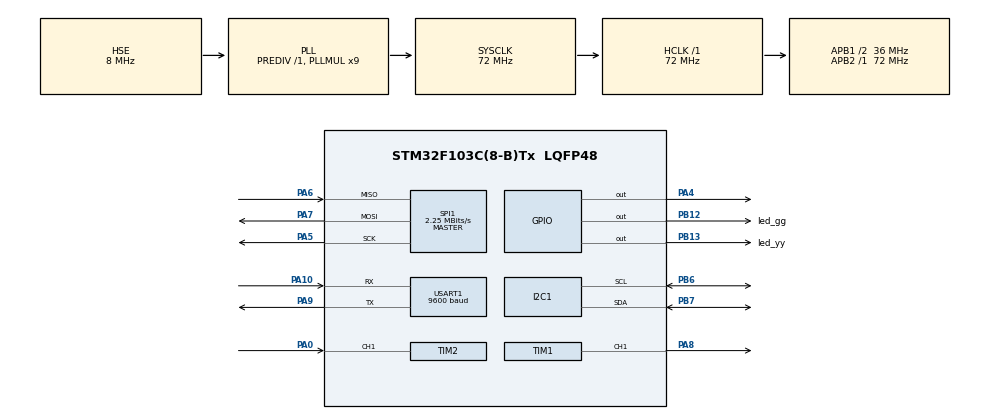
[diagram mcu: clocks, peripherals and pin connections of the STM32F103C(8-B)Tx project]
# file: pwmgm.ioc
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Mcu.Family=STM32F1
RCC.PLLSourceVirtual=RCC_PLLSOURCE_HSE
PA6.Mode=Full_Duplex_Master
PA7.Mode=Full_Duplex_Master
PD1-OSC_OUT.Mode=HSE-External-Oscillator
PA10.Mode=Asynchronous
SPI1.VirtualType=VM_MASTER
USART1.BaudRate=9600
PD0-OSC_IN.Signal=RCC_OSC_IN
RCC.APB1CLKDivider=RCC_HCLK_DIV2
PB13.GPIO_Label=led_yy
PB13.Signal=GPIO_Output
RCC.SYSCLKSource=RCC_SYSCLKSOURCE_PLLCLK
ProjectManager.StackSize=0x400
PA0-WKUP.Signal=S_TIM2_CH1_ETR
PD1-OSC_OUT.Signal=RCC_OSC_OUT
PA13.Signal=SYS_JTMS-SWDIO
TIM1.AutoReloadPreload=TIM_AUTORELOAD_PRELOAD_ENABLE
PA9.Mode=Asynchronous
VP_SYS_VS_tim3.Mode=TIM3
SH.S_TIM1_CH1.0=TIM1_CH1,PWM Generation1 CH1
ProjectManager.TargetToolchain=STM32CubeIDE
SPI1.Direction=SPI_DIRECTION_2LINES
RCC.HCLKFreq_Value=72000000
RCC.APB2TimFreq_Value=72000000
PA9.Signal=USART1_TX
PB6.Signal=I2C1_SCL
PB6.Mode=I2C
SPI1.CalculateBaudRate=2.25 MBits/s
RCC.USBFreq_Value=72000000
RCC.AHBFreq_Value=72000000
VP_FATFS_VS_Generic.Mode=User_defined
PD0-OSC_IN.Mode=HSE-External-Oscillator
PA5.Signal=SPI1_SCK
board=custom
RCC.PLLMUL=RCC_PLL_MUL9
NVIC.TIM3_IRQn=true\:0\:0\:false\:false\:true\:false\:true
PB12.GPIO_Label=led_gg
RCC.APB2Freq_Value=72000000
TIM1.Channel-PWM\ Generation1\ CH1=TIM_CHANNEL_1
SPI1.Mode=SPI_MODE_MASTER
PA14.Mode=Serial_Wire
NVIC.TIM2_IRQn=true\:5\:0\:true\:false\:true\:true\:true
PB7.Signal=I2C1_SDA
PA8.Signal=S_TIM1_CH1
PA13.Mode=Serial_Wire
Mcu.Name=STM32F103C(8-B)Tx
VP_TIM1_VS_ClockSourceINT.Mode=Internal
FATFS._MAX_SS=512
PA4.Signal=GPIO_Output
RCC.SYSCLKFreq_VALUE=72000000
Mcu.Package=LQFP48
PA6.Signal=SPI1_MISO
NVIC.TimeBase=TIM3_IRQn
USART1.VirtualMode=VM_ASYNC
PB7.Mode=I2C
SH.S_TIM2_CH1_ETR.0=TIM2_CH1,PWM_Input_1
NVIC.TimeBaseIP=TIM3
PA14.Signal=SYS_JTCK-SWCLK
PA10.Signal=USART1_RX
ProjectManager.HeapSize=0x200
NVIC.PriorityGroup=NVIC_PRIORITYGROUP_4
RCC.APB1TimFreq_Value=72000000
NVIC.USART1_IRQn=true\:5\:0\:true\:false\:true\:true\:true
RCC.APB1Freq_Value=36000000
SPI1.BaudRatePrescaler=SPI_BAUDRATEPRESCALER_32
PB12.Signal=GPIO_Output
PA5.Mode=Full_Duplex_Master
PA7.Signal=SPI1_MOSI

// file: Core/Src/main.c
/* USER CODE BEGIN Header */
/**
 ******************************************************************************
 * @file           : main.c
 * @brief          : Main program body
 ******************************************************************************
 * @attention
 *
 * <h2><center>&copy; Copyright (c) 2023 STMicroelectronics.
 * All rights reserved.</center></h2>
 *
 * This software component is licensed by ST under BSD 3-Clause license,
 * the "License"; You may not use this file except in compliance with the
 * License. You may obtain a copy of the License at:
 *                        opensource.org/licenses/BSD-3-Clause
 *
 ******************************************************************************
 */
/* USER CODE END Header */
#include "main.h"
#include "fatfs.h"

/* USER CODE BEGIN Includes */

#include "string.h"
#include "stdio.h"
#include "stdlib.h"
#include "liquidcrystal_i2c.h"
#include "freertos.h"
#include "queue.h"
#include "semphr.h"
#include "stm32f1xx_hal_tim_ex.h"

/* USER CODE END Includes */

/* USER CODE BEGIN PD */

#define TIMER_CLOCK_FREQ 72000000
/* USER CODE END PD */

I2C_HandleTypeDef hi2c1;

SPI_HandleTypeDef hspi1;

TIM_HandleTypeDef htim1;
TIM_HandleTypeDef htim2;

UART_HandleTypeDef huart1;

/* USER CODE BEGIN PV */

SemaphoreHandle_t sem_UART1;
SemaphoreHandle_t Mutex;
SemaphoreHandle_t sem_Dmfd;

// Handler de la cola
QueueHandle_t queueUART1;
QueueHandle_t queuePWM;
QueueHandle_t queueLCD;
QueueHandle_t queueMFD;
QueueHandle_t queueDmfd;
QueueHandle_t queueSD;
QueueHandle_t queueDSD;
// datos de la colas

typedef struct {
	uint8_t code;
	uint8_t lfrequency[5];
	uint8_t ldutyCycle[5];
	uint8_t fecha[23];
} queueLCD_t;

typedef struct {
	float frequency;
	float dutyCycle;
} queueMFD_t;

uint8_t dataUART[23];
uint8_t dataPWM[8];
char cadena;
uint8_t queueS_1;
char cadenaSD_F[125];

// Handlers de tareas
TaskHandle_t h_UART1;
TaskHandle_t h_pwm;
TaskHandle_t h_mfd;
TaskHandle_t h_lcd;
TaskHandle_t h_Dmfd;
TaskHandle_t h_SD;
TaskHandle_t h_dsd;

/* USER CODE END PV */

void SystemClock_Config(void);
static void MX_GPIO_Init(void);
static void MX_I2C1_Init(void);
static void MX_USART1_UART_Init(void);
static void MX_TIM1_Init(void);
static void MX_SPI1_Init(void);
static void MX_TIM2_Init(void);

/* USER CODE BEGIN 0 */
FATFS fs;  // file system
FIL fil; // File
FILINFO fno;
FRESULT fresult;  // result
UINT br, bw;  // File read/write count

/**** capacity related *****/
FATFS *pfs;
DWORD fre_clust;
uint32_t total, free_space;
////////////////////////////////////////////////////////////////////////////////
//// interrupcion TIMER 2 medicion de freq & duty
void HAL_TIM_IC_CaptureCallback(TIM_HandleTypeDef *htim) {

	float freq = 0;
	float duty = 0;
	queueMFD_t buffer = { 0 };

	if (htim->Instance == TIM2) {

		uint32_t cl = HAL_TIM_ReadCapturedValue(htim, TIM_CHANNEL_1);
		uint32_t ch = HAL_TIM_ReadCapturedValue(htim, TIM_CHANNEL_2);

		freq = (float) TIMER_CLOCK_FREQ / (cl + 1);
		duty = (float) 100 * ch / cl;

		buffer.frequency = freq;

		buffer.dutyCycle = duty;

		xQueueSendToBackFromISR(queueMFD, &buffer, portMAX_DELAY);

		HAL_TIM_IC_Stop_IT(&htim2, TIM_CHANNEL_1); // Primary channel - rising edge
		HAL_TIM_IC_Stop(&htim2, TIM_CHANNEL_2);

	}
}

////////////////////////////////////////////////////////////////////////////////
//// interrupcion de uart
void HAL_UART_RxCpltCallback(UART_HandleTypeDef *huart) {
	int indice;
	char buffer[23];
	HAL_GPIO_TogglePin(GPIOB, GPIO_PIN_12);
	if (huart->Instance == USART1) {

		buffer[indice++] = cadena;

		if (cadena == '&')
			indice = 0;

		if (indice >= 23)

		{

			indice = 0;
			xQueueSendToBackFromISR(queueUART1, &buffer, portMAX_DELAY);

			static BaseType_t xHigherPriorityTaskWoken = pdFALSE;
			xSemaphoreGiveFromISR(sem_UART1, &xHigherPriorityTaskWoken);
			if (xHigherPriorityTaskWoken) {
				taskYIELD();
			}
		}
	}
	HAL_UART_Receive_IT(&huart1, (uint8_t*) &cadena, 1);

}

////////////////////////////////////////////////////////////////////////////////////
/// tarea presentacion

static void LCDTask(void *parameters) {

	queueLCD_t buffer_lcd = { 0 };
	char fecha[14];
	char frequency[5];
	char dutyCycle[2];

	while (1) {

		xQueueReceive(queueLCD, &buffer_lcd, portMAX_DELAY);

		if (buffer_lcd.code == 2) {

			HD44780_SetCursor(8, 0);
			HD44780_PrintStr((char*) buffer_lcd.lfrequency);
			HD44780_SetCursor(13, 0);
			HD44780_PrintStr(" Hz ");
			HD44780_SetCursor(8, 1);
			HD44780_PrintStr((char*) buffer_lcd.ldutyCycle);
			HD44780_SetCursor(13, 1);
			HD44780_PrintStr(" % ");

		}

		if (buffer_lcd.code == 1) {

			strncpy(fecha, (char*) buffer_lcd.fecha + 9, 23);
			HD44780_Clear();
			HD44780_SetCursor(1, 0);
			HD44780_PrintStr(fecha);
			HD44780_SetCursor(15, 0);
			HD44780_PrintStr(" ");
			HAL_Delay(3000);
			HD44780_Clear();
			strncpy(dutyCycle, (char*) buffer_lcd.fecha + 6, 8);
			dutyCycle[2] = '\0';
			strncpy(frequency, (char*) buffer_lcd.fecha, 5);
			frequency[5] = '\0';
			HD44780_SetCursor(0, 0);
			HD44780_PrintStr("(");
			HD44780_PrintStr(frequency);
			HD44780_PrintStr(")");
			HD44780_SetCursor(0, 1);
			HD44780_PrintStr("( ");
			HD44780_PrintStr(dutyCycle);
			HD44780_PrintStr(" %)");
		}

		vTaskDelay(500 / portTICK_PERIOD_MS);

	}

}

////////////////////////////////////////////////////////////////////////////////////
/// tarea Medicion

static void MFDTask(void *parameters) {
	float freq = 0;
	float duty = 0;
	uint32_t iduty = 0;
	uint32_t dduty = 0;
	uint32_t ifreq = 0;

	queueMFD_t buffer = { 0 };
	queueLCD_t buffer_lcd;

	while (1) {

		xQueueReceive(queueMFD, &buffer, portMAX_DELAY);

		freq = buffer.frequency;
		duty = buffer.dutyCycle;
		ifreq = (int) freq;
		iduty = (int) duty;
		dduty = (int) ((duty - iduty) * 1000);
		sprintf((char*) buffer_lcd.lfrequency, "%lu    ", ifreq);
		snprintf((char*) buffer_lcd.ldutyCycle, 19, "%2d.%2d ", iduty, dduty);
		buffer_lcd.code = 2;

		xQueueSendToBack(queueLCD, &buffer_lcd, portMAX_DELAY);

	}
}
////////////////////////////////////////////////////////////////////////////////////
/// tarea PWM

static void PWMTask(void *pvparameters)

{
	char datocolap[8];
	char frequencia[4];
	char dutycycle[2];

	while (1) {

		xQueueReceive(queuePWM, &datocolap, portMAX_DELAY);

//		HAL_UART_Transmit(&huart1, datocolap, sizeof(datocolap),100);

		strncpy(dutycycle, datocolap + 6, 8);
		dutycycle[2] = '\0';
		strncpy(frequencia, datocolap, 4);
		frequencia[5] = '\0';

		uint32_t freq = (uint32_t) strtol(frequencia, NULL, 10);
		uint32_t duty = (uint32_t) strtol(dutycycle, NULL, 10);

		// ajuste de pwm duty & freq

		uint32_t psc = 0, auxfreq = 0, uCclk = 0;
		psc = htim1.Init.Prescaler;
		uCclk = 72000000; // 72MHz
		auxfreq = uCclk / ((psc + 1) * freq);
		TIM1->ARR = auxfreq - 1;

		uint32_t dutyReg = 0, arr = 0;
		arr = TIM1->ARR;
		dutyReg = (arr * duty) / 100;
		TIM1->CCR1 = dutyReg;
		///////////////////////////////////////////

		vTaskDelay(1500 / portTICK_PERIOD_MS);

		HAL_TIM_IC_Start_IT(&htim2, TIM_CHANNEL_1); // Primary channel - rising edge
		HAL_TIM_IC_Start(&htim2, TIM_CHANNEL_2); // Secondary channel - falling edge

	}
}

////////////////////////////////////////////////////////////////////////////////////
/// tarea disparo de medicion

static void DMFDTask(void *parameters) {

	while (1) {
		/*

		 HAL_TIM_IC_Start_IT(&htim2, TIM_CHANNEL_1); // Primary channel - rising edge
		 HAL_TIM_IC_Start(&htim2, TIM_CHANNEL_2); // Secondary channel - falling edge

		 vTaskDelay(5000 / portTICK_PERIOD_MS);

		 */

	}

}

////////////////////////////////////////////////////////////////////////////////////
///   datos de interrupcion UART

static void ReadUART1Task(void *pvParameters) {

	uint8_t state[23];
	char stateSD[23];
	char datocolap[8];
	queueLCD_t buffer_lcd = { 0 };

	while (1) {
		xSemaphoreTake(sem_UART1, portMAX_DELAY);
		//HAL_UART_Transmit(&huart1, state, sizeof(state),100);
		xQueueReceive(queueUART1, &state, portMAX_DELAY);

//		HAL_UART_Transmit(&huart1, state, sizeof(state),100);

		strcpy((char*) buffer_lcd.fecha, (char*) state);
		buffer_lcd.code = 1;

		xQueueSendToBack(queueLCD, &buffer_lcd, portMAX_DELAY);

		strncpy(datocolap, (char*) state, 8);
		datocolap[8] = '\0';
//		HAL_UART_Transmit(&huart1, state, sizeof(state),100);

		xQueueSendToBack(queuePWM, &datocolap, portMAX_DELAY);
		vTaskDelay(1200 / portTICK_PERIOD_MS);

		//HAL_UART_Transmit(&huart1, state, sizeof(state),100);

		strncpy(stateSD, (char*) state, 23);

		xQueueSendToBack(queueDSD, &state, portMAX_DELAY); //Enviar entero
		//vTaskDelay(1200 / portTICK_PERIOD_MS);

	}
}
/////////////////////////////////////////////////////////////////////////////
///Tarea SD

static void SDTask(void *pvParameters) {
	char data[120];

	portBASE_TYPE result = pdFALSE;
	while (1) {
		result = xQueueReceive(queueSD, &data, portMAX_DELAY);

//		taskENTER_CRITICAL();
		//HAL_UART_Transmit(&huart1, "SD", sizeof(char[2]),100);
		if (result) {

			//	strncpy(cadenaSD + indx, data, 23);
			//	cadenaSD[23] = '\n';

			//HAL_UART_Transmit(&huart1, data, sizeof(data),100);
			fresult = f_mount(&fs, "/", 1);
			/* Check free space */
			f_getfree("", &fre_clust, &pfs);
			total = (uint32_t) ((pfs->n_fatent - 2) * pfs->csize * 0.5);
			free_space = (uint32_t) (fre_clust * pfs->csize * 0.5);
			/* Open file to write/ create a file if it doesn't exist */
			fresult = f_open(&fil, "pruebaD.txt",
					FA_OPEN_ALWAYS | FA_READ | FA_WRITE);

			//HAL_UART_Transmit(&huart1, cadena, sizeof(data),100);
			/* Writing text */
			///f_puts(cadenaSD,&fil);
			f_puts(data, &fil);

			//f_write(&fil, cadenaSD, sizeof(cadenaSD), 200);
			/* Close file */
			fresult = f_close(&fil);

			//	HAL_UART_Transmit(&huart1, "fin", sizeof(char[3]),100);
			//////////////////////////////////////////////////////////

		}
//		taskEXIT_CRITICAL();
		//indx= indx+24;
		//vTaskDelete(h_SD);
	}
}

///////////////////////////////////////////////////////////////////////////////////
///Data SD
static void DSDTask(void *parameters) {
	char ty[120];
	char data[24];
	char cadenaSD[120] =
			"00000 00 00/00/00 00:00\n00000 00 00/00/00 00:00\n00000 00 00/00/00 00:00\n00000 00 00/00/00 00:00\n00000 00 00/00/00 00:00\0";

	while (1) {

		xQueueReceive(queueDSD, &data, portMAX_DELAY);

		memcpy(ty, cadenaSD, 125);
		memcpy(cadenaSD, ty + 24, 95);
		memcpy(cadenaSD + 96, data, 23);

//	  HAL_UART_Transmit(&huart1, cadenaSD , sizeof( cadenaSD  ),1000);

		xQueueSendToBack(queueSD, &cadenaSD, portMAX_DELAY);

	}

}

/* USER CODE END 0 */

int main(void) {

	/* MCU Configuration--------------------------------------------------------*/

	/* Reset of all peripherals, Initializes the Flash interface and the Systick. */
	HAL_Init();

	/* Configure the system clock */
	SystemClock_Config();

	/* Initialize all configured peripherals */
	MX_GPIO_Init();
	MX_I2C1_Init();
	MX_USART1_UART_Init();
	MX_TIM1_Init();
	MX_SPI1_Init();
	MX_FATFS_Init();
	MX_TIM2_Init();
	/* USER CODE BEGIN 2 */

	MX_GPIO_Init();
	//MX_USART2_UART_Init();
	MX_I2C1_Init();
	HD44780_Init(2);
	HD44780_Clear();
	HD44780_SetCursor(0, 0);
	HD44780_PrintStr("      TD_3      ");
	HD44780_SetCursor(0, 1);
	HD44780_PrintStr("    PARCIAL1    ");
	TIM1->ARR = 0x708;    //
	TIM1->CCR1 = 0xB4;    //

	// Creo el semaforo de la tarea handler por interrupcion
	vSemaphoreCreateBinary(sem_UART1);
	//vSemaphoreCreateBinary(sem_Dmfd);

	Mutex = xSemaphoreCreateMutex();

	xSemaphoreTake(sem_UART1, 0);

	// Creo la cola del adc, size 1 item
	//queueUART2 = xQueueCreate(1,sizeof(dataUART));
	queueUART1 = xQueueCreate(1, sizeof(dataUART));
	queuePWM = xQueueCreate(1, sizeof(dataPWM));
	queueMFD = xQueueCreate(1, sizeof(queueMFD_t));
	queueLCD = xQueueCreate(1, sizeof(queueLCD_t));
	queueDmfd = xQueueCreate(1, sizeof(queueS_1));
	queueSD = xQueueCreate(1, sizeof(cadenaSD_F));
	queueDSD = xQueueCreate(1, sizeof(dataUART));

	// Creo las tareas
	xTaskCreate(ReadUART1Task, "", configMINIMAL_STACK_SIZE + 300, NULL, 1,
			&h_UART1);
	xTaskCreate(PWMTask, "", configMINIMAL_STACK_SIZE, NULL, 1, &h_pwm);
	xTaskCreate(MFDTask, "", configMINIMAL_STACK_SIZE, NULL, 1, &h_mfd);
	xTaskCreate(LCDTask, "", configMINIMAL_STACK_SIZE, NULL, 1, &h_lcd);
	xTaskCreate(DMFDTask, "", configMINIMAL_STACK_SIZE, NULL, 1, &h_Dmfd);
	xTaskCreate(SDTask, "", configMINIMAL_STACK_SIZE + 1500, NULL, 2, &h_SD);
	xTaskCreate(DSDTask, "", configMINIMAL_STACK_SIZE, NULL + 1500, 1, &h_dsd);

	//xTaskCreate(presento1Task, "",configMINIMAL_STACK_SIZE,NULL, 1,(TaskHandle_t *) NULL);

	HAL_GPIO_WritePin(led_yy_GPIO_Port, led_yy_Pin, 1);
	HAL_Delay(2000);

	HAL_UART_Receive_IT(&huart1, (uint8_t*) &cadena, 1);

	/* USER CODE END 2 */

	/* Infinite loop */
	/* USER CODE BEGIN WHILE */

	HAL_TIM_PWM_Start(&htim1, TIM_CHANNEL_1);

	vTaskStartScheduler();
	while (1) {
		/* USER CODE END WHILE */

	}
}

void SystemClock_Config(void) {
	RCC_OscInitTypeDef RCC_OscInitStruct = { 0 };
	RCC_ClkInitTypeDef RCC_ClkInitStruct = { 0 };

	/** Initializes the RCC Oscillators according to the specified parameters
	 * in the RCC_OscInitTypeDef structure.
	 */
	RCC_OscInitStruct.OscillatorType = RCC_OSCILLATORTYPE_HSE;
	RCC_OscInitStruct.HSEState = RCC_HSE_ON;
	RCC_OscInitStruct.HSEPredivValue = RCC_HSE_PREDIV_DIV1;
	RCC_OscInitStruct.HSIState = RCC_HSI_ON;
	RCC_OscInitStruct.PLL.PLLState = RCC_PLL_ON;
	RCC_OscInitStruct.PLL.PLLSource = RCC_PLLSOURCE_HSE;
	RCC_OscInitStruct.PLL.PLLMUL = RCC_PLL_MUL9;
	if (HAL_RCC_OscConfig(&RCC_OscInitStruct) != HAL_OK) {
		Error_Handler();
	}
	/** Initializes the CPU, AHB and APB buses clocks
	 */
	RCC_ClkInitStruct.ClockType = RCC_CLOCKTYPE_HCLK | RCC_CLOCKTYPE_SYSCLK
			| RCC_CLOCKTYPE_PCLK1 | RCC_CLOCKTYPE_PCLK2;
	RCC_ClkInitStruct.SYSCLKSource = RCC_SYSCLKSOURCE_PLLCLK;
	RCC_ClkInitStruct.AHBCLKDivider = RCC_SYSCLK_DIV1;
	RCC_ClkInitStruct.APB1CLKDivider = RCC_HCLK_DIV2;
	RCC_ClkInitStruct.APB2CLKDivider = RCC_HCLK_DIV1;

	if (HAL_RCC_ClockConfig(&RCC_ClkInitStruct, FLASH_LATENCY_2) != HAL_OK) {
		Error_Handler();
	}
}

static void MX_I2C1_Init(void) {

	hi2c1.Instance = I2C1;
	hi2c1.Init.ClockSpeed = 100000;
	hi2c1.Init.DutyCycle = I2C_DUTYCYCLE_2;
	hi2c1.Init.OwnAddress1 = 0;
	hi2c1.Init.AddressingMode = I2C_ADDRESSINGMODE_7BIT;
	hi2c1.Init.DualAddressMode = I2C_DUALADDRESS_DISABLE;
	hi2c1.Init.OwnAddress2 = 0;
	hi2c1.Init.GeneralCallMode = I2C_GENERALCALL_DISABLE;
	hi2c1.Init.NoStretchMode = I2C_NOSTRETCH_DISABLE;
	if (HAL_I2C_Init(&hi2c1) != HAL_OK) {
		Error_Handler();
	}

}

static void MX_SPI1_Init(void) {

	/* SPI1 parameter configuration*/
	hspi1.Instance = SPI1;
	hspi1.Init.Mode = SPI_MODE_MASTER;
	hspi1.Init.Direction = SPI_DIRECTION_2LINES;
	hspi1.Init.DataSize = SPI_DATASIZE_8BIT;
	hspi1.Init.CLKPolarity = SPI_POLARITY_LOW;
	hspi1.Init.CLKPhase = SPI_PHASE_1EDGE;
	hspi1.Init.NSS = SPI_NSS_SOFT;
	hspi1.Init.BaudRatePrescaler = SPI_BAUDRATEPRESCALER_32;
	hspi1.Init.FirstBit = SPI_FIRSTBIT_MSB;
	hspi1.Init.TIMode = SPI_TIMODE_DISABLE;
	hspi1.Init.CRCCalculation = SPI_CRCCALCULATION_DISABLE;
	hspi1.Init.CRCPolynomial = 10;
	if (HAL_SPI_Init(&hspi1) != HAL_OK) {
		Error_Handler();
	}

}

static void MX_TIM1_Init(void) {

	TIM_ClockConfigTypeDef sClockSourceConfig = { 0 };
	TIM_MasterConfigTypeDef sMasterConfig = { 0 };
	TIM_OC_InitTypeDef sConfigOC = { 0 };
	TIM_BreakDeadTimeConfigTypeDef sBreakDeadTimeConfig = { 0 };

	htim1.Instance = TIM1;
	htim1.Init.Prescaler = 0;
	htim1.Init.CounterMode = TIM_COUNTERMODE_UP;
	htim1.Init.Period = 65535;
	htim1.Init.ClockDivision = TIM_CLOCKDIVISION_DIV1;
	htim1.Init.RepetitionCounter = 0;
	htim1.Init.AutoReloadPreload = TIM_AUTORELOAD_PRELOAD_ENABLE;
	if (HAL_TIM_Base_Init(&htim1) != HAL_OK) {
		Error_Handler();
	}
	sClockSourceConfig.ClockSource = TIM_CLOCKSOURCE_INTERNAL;
	if (HAL_TIM_ConfigClockSource(&htim1, &sClockSourceConfig) != HAL_OK) {
		Error_Handler();
	}
	if (HAL_TIM_PWM_Init(&htim1) != HAL_OK) {
		Error_Handler();
	}
	sMasterConfig.MasterOutputTrigger = TIM_TRGO_RESET;
	sMasterConfig.MasterSlaveMode = TIM_MASTERSLAVEMODE_DISABLE;
	if (HAL_TIMEx_MasterConfigSynchronization(&htim1, &sMasterConfig)
			!= HAL_OK) {
		Error_Handler();
	}
	sConfigOC.OCMode = TIM_OCMODE_PWM1;
	sConfigOC.Pulse = 0;
	sConfigOC.OCPolarity = TIM_OCPOLARITY_HIGH;
	sConfigOC.OCNPolarity = TIM_OCNPOLARITY_HIGH;
	sConfigOC.OCFastMode = TIM_OCFAST_DISABLE;
	sConfigOC.OCIdleState = TIM_OCIDLESTATE_RESET;
	sConfigOC.OCNIdleState = TIM_OCNIDLESTATE_RESET;
	if (HAL_TIM_PWM_ConfigChannel(&htim1, &sConfigOC, TIM_CHANNEL_1)
			!= HAL_OK) {
		Error_Handler();
	}
	sBreakDeadTimeConfig.OffStateRunMode = TIM_OSSR_DISABLE;
	sBreakDeadTimeConfig.OffStateIDLEMode = TIM_OSSI_DISABLE;
	sBreakDeadTimeConfig.LockLevel = TIM_LOCKLEVEL_OFF;
	sBreakDeadTimeConfig.DeadTime = 0;
	sBreakDeadTimeConfig.BreakState = TIM_BREAK_DISABLE;
	sBreakDeadTimeConfig.BreakPolarity = TIM_BREAKPOLARITY_HIGH;
	sBreakDeadTimeConfig.AutomaticOutput = TIM_AUTOMATICOUTPUT_DISABLE;
	if (HAL_TIMEx_ConfigBreakDeadTime(&htim1, &sBreakDeadTimeConfig)
			!= HAL_OK) {
		Error_Handler();
	}
	HAL_TIM_MspPostInit(&htim1);

}

static void MX_TIM2_Init(void) {

	TIM_SlaveConfigTypeDef sSlaveConfig = { 0 };
	TIM_IC_InitTypeDef sConfigIC = { 0 };
	TIM_MasterConfigTypeDef sMasterConfig = { 0 };

	htim2.Instance = TIM2;
	htim2.Init.Prescaler = 0;
	htim2.Init.CounterMode = TIM_COUNTERMODE_UP;
	htim2.Init.Period = 65535;
	htim2.Init.ClockDivision = TIM_CLOCKDIVISION_DIV1;
	htim2.Init.AutoReloadPreload = TIM_AUTORELOAD_PRELOAD_DISABLE;
	if (HAL_TIM_IC_Init(&htim2) != HAL_OK) {
		Error_Handler();
	}
	sSlaveConfig.SlaveMode = TIM_SLAVEMODE_RESET;
	sSlaveConfig.InputTrigger = TIM_TS_TI1FP1;
	sSlaveConfig.TriggerPolarity = TIM_INPUTCHANNELPOLARITY_RISING;
	sSlaveConfig.TriggerPrescaler = TIM_ICPSC_DIV1;
	sSlaveConfig.TriggerFilter = 0;
	if (HAL_TIM_SlaveConfigSynchro(&htim2, &sSlaveConfig) != HAL_OK) {
		Error_Handler();
	}
	sConfigIC.ICPolarity = TIM_INPUTCHANNELPOLARITY_RISING;
	sConfigIC.ICSelection = TIM_ICSELECTION_DIRECTTI;
	sConfigIC.ICPrescaler = TIM_ICPSC_DIV1;
	sConfigIC.ICFilter = 0;
	if (HAL_TIM_IC_ConfigChannel(&htim2, &sConfigIC, TIM_CHANNEL_1) != HAL_OK) {
		Error_Handler();
	}
	sConfigIC.ICPolarity = TIM_INPUTCHANNELPOLARITY_FALLING;
	sConfigIC.ICSelection = TIM_ICSELECTION_INDIRECTTI;
	if (HAL_TIM_IC_ConfigChannel(&htim2, &sConfigIC, TIM_CHANNEL_2) != HAL_OK) {
		Error_Handler();
	}
	sMasterConfig.MasterOutputTrigger = TIM_TRGO_RESET;
	sMasterConfig.MasterSlaveMode = TIM_MASTERSLAVEMODE_DISABLE;
	if (HAL_TIMEx_MasterConfigSynchronization(&htim2, &sMasterConfig)
			!= HAL_OK) {
		Error_Handler();
	}

}

static void MX_USART1_UART_Init(void) {

	huart1.Instance = USART1;
	huart1.Init.BaudRate = 9600;
	huart1.Init.WordLength = UART_WORDLENGTH_8B;
	huart1.Init.StopBits = UART_STOPBITS_1;
	huart1.Init.Parity = UART_PARITY_NONE;
	huart1.Init.Mode = UART_MODE_TX_RX;
	huart1.Init.HwFlowCtl = UART_HWCONTROL_NONE;
	huart1.Init.OverSampling = UART_OVERSAMPLING_16;
	if (HAL_UART_Init(&huart1) != HAL_OK) {
		Error_Handler();
	}

}

static void MX_GPIO_Init(void) {
	GPIO_InitTypeDef GPIO_InitStruct = { 0 };

	/* GPIO Ports Clock Enable */
	__HAL_RCC_GPIOD_CLK_ENABLE();
	__HAL_RCC_GPIOA_CLK_ENABLE();
	__HAL_RCC_GPIOB_CLK_ENABLE();

	/*Configure GPIO pin Output Level */
	HAL_GPIO_WritePin(GPIOA, GPIO_PIN_4, GPIO_PIN_RESET);

	/*Configure GPIO pin Output Level */
	HAL_GPIO_WritePin(GPIOB, led_gg_Pin | led_yy_Pin, GPIO_PIN_RESET);

	/*Configure GPIO pin : PA4 */
	GPIO_InitStruct.Pin = GPIO_PIN_4;
	GPIO_InitStruct.Mode = GPIO_MODE_OUTPUT_PP;
	GPIO_InitStruct.Pull = GPIO_NOPULL;
	GPIO_InitStruct.Speed = GPIO_SPEED_FREQ_LOW;
	HAL_GPIO_Init(GPIOA, &GPIO_InitStruct);

	/*Configure GPIO pins : led_gg_Pin led_yy_Pin */
	GPIO_InitStruct.Pin = led_gg_Pin | led_yy_Pin;
	GPIO_InitStruct.Mode = GPIO_MODE_OUTPUT_PP;
	GPIO_InitStruct.Pull = GPIO_NOPULL;
	GPIO_InitStruct.Speed = GPIO_SPEED_FREQ_LOW;
	HAL_GPIO_Init(GPIOB, &GPIO_InitStruct);

}

void HAL_TIM_PeriodElapsedCallback(TIM_HandleTypeDef *htim) {
	if (htim->Instance == TIM3) {
		HAL_IncTick();
	}
}

void Error_Handler(void) {
	__disable_irq();
	while (1) {
	}
}

/************************ (C) COPYRIGHT STMicroelectronics *****END OF FILE****/
